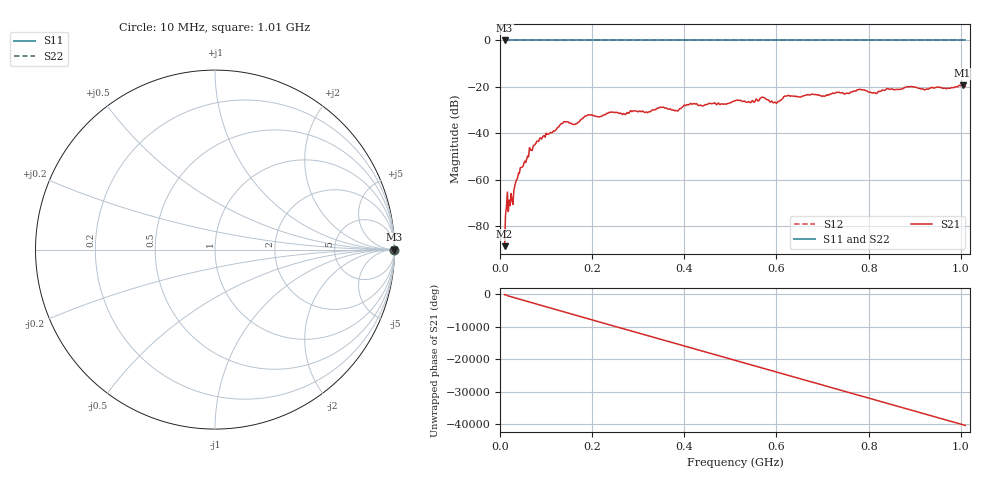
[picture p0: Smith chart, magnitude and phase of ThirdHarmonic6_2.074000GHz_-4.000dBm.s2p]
! 8/17/2025 12:50:15 AM
! C:\ANRITSUVNA\TEMP\TEMP.S2P
! CHANNEL.1
! TR.MEASUREMENT
! RAW.DATA
! RF.CORRECTION.OFF
! AVERAGING.OFF
! IF.BANDWIDTH: 5KHZ
! SWEEPTYPE:  FREQ.SWEEP(Linear)
! Reference Plane Port Info
! PORT:  PORT1  PORT2
! DISTANCE:  0  m  0  m
! TIME:  0  s  0  s
! PHASE.OFFSET:  0  deg.  0  deg.
! LOSS:  0  dB  0  dB
! REF.LOSS:  0  dB  0  dB
! REF.FREQ:  0  Hz  0  Hz
! Power Info
! POWER:  -20  dBm  -20  dBm
! EFF.POWER:  -20  dBm  -20  dBm
! SOURCE.ATTEN:  0  dB  0  dB
! TEST.ATTEN:  0  dB  0  dB
# GHZ S RI R 50.0
! FREQ.GHZ  S11RE  S11IM  S21RE  S21IM  S12RE  S12IM  S22RE  S22IM
!; PortSelection: Port_12
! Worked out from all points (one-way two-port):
!   501 points, 10 MHz to 1.01 GHz, reference 50 ohm
!   highest |S21| = -19.24 dB at 1.004 GHz (marker M1); lowest = -88.7 dB at 10 MHz (marker M2)
!   lowest |S11| = 0.0 dB at 10 MHz (marker M3)
!   |S11| at or under -10 dB: nowhere
!   |S22| runs from 0.0 to 0.0 dB; largest |S21 - S12| = 1.1
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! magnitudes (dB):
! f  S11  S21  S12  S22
! 10 MHz  0.0  -88.7  0.0  0.0
! 16 MHz  0.0  -65.3  0.0  0.0
! 26 MHz  0.0  -68.6  0.0  0.0
! 42 MHz  0.0  -57.3  0.0  0.0
! 76 MHz  0.0  -44.8  0.0  0.0
! 136 MHz  0.0  -35.7  0.0  0.0
! 164 MHz  0.0  -36.1  0.0  0.0
! 178 MHz  0.0  -33.8  0.0  0.0
! 344 MHz  0.0  -29.2  0.0  0.0
! 384 MHz  0.0  -30.2  0.0  0.0
! 416 MHz  0.0  -27.4  0.0  0.0
! 510 MHz  0.0  -25.9  0.0  0.0
! 548 MHz  0.0  -25.9  0.0  0.0
! 570 MHz  0.0  -24.4  0.0  0.0
! 598 MHz  0.0  -26.7  0.0  0.0
! 622 MHz  0.0  -23.9  0.0  0.0
! 678 MHz  0.0  -23.2  0.0  0.0
! 780 MHz  0.0  -21.1  0.0  0.0
! 814 MHz  0.0  -22.6  0.0  0.0
! 844 MHz  0.0  -21.0  0.0  0.0
! 1.004 GHz  0.0  -19.2  0.0  0.0
! 1.01 GHz  0.0  -19.8  0.0  0.0
